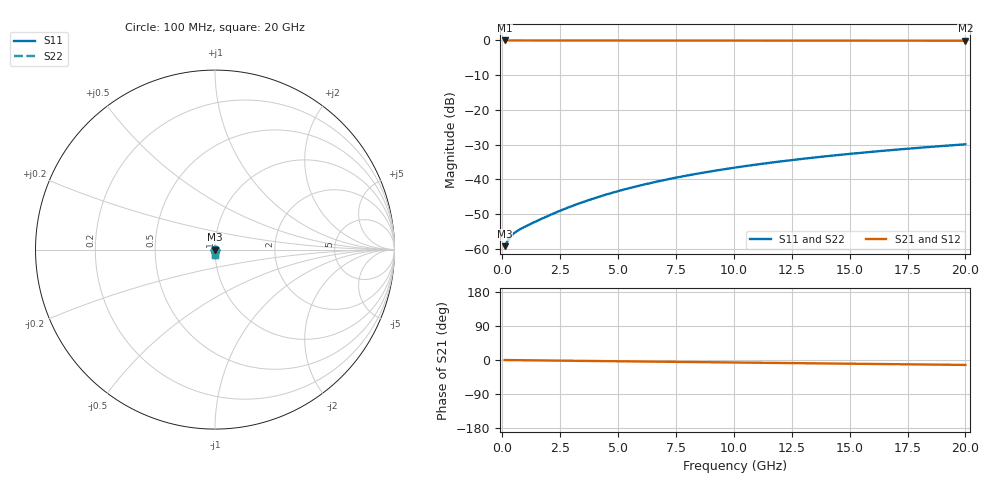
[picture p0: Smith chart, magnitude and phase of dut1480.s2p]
! Touchstone file exported from HFSS 2026.1.0
!  File:  C:/ffzhzh/LocalFiles/Ansys_Project_Files/temp_train_BSMRDL_1480_1783181306_18472.aedt
!  Generated:  12:09:34 AM Jul  5, 2026
!  Design:  BSMRDL
!  Project:  temp_train_BSMRDL_1480_1783181306_18472
! Variables:
!  h_bsmrdl = 3.7um
!  h_ox = 20um
!  h_rdl = 5um
!  h_sub = 80um
!  h_tmrdl = 5um
!  h_tsv = 80um
!  h_via = 3um
!  l_bsmrdl = 219.88um
!  l_sub = 619.88um
!  l_tmrdl = 200um
!  m_sub = 200um
!  pitch = 28.9um
!  r_tsv = 6um
!  s_tmrdl = 10um
!  w_bsmrdl = 26um
!  w_sub = 500um
!  w_tmrdl = 12um
!  x_tsv_center1 = 206um
!  x_tsv_center2 = 451.88um
!  x_tsv_center3 = 663.88um
!  x_tsv_center4 = 909.76um
!  x_tsv_center5 = 1121.76um
!  x_tsv_center6 = 1367.64um
# GHz S MA R 50.000000
! Terminal data exported
! Port[1] = BSM_RDL1_1_T1
! Port[2] = BSM_RDL1_1_T2
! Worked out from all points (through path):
!   200 points, 100 MHz to 20 GHz, reference 50 ohm
!   highest |S21| = -0.01 dB at 100 MHz (marker M1); lowest = -0.1 dB at 20 GHz (marker M2)
!   group delay of S21, straight-line fit = 1.79 ps
!   lowest |S11| = -59.2 dB at 100 MHz (marker M3), VSWR 1.00, Z = 50.1 + j0.0138 ohm
!   |S11| at or under -10 dB: start of sweep to end of sweep
!   |S22| runs from -59.2 to -29.9 dB; largest |S21 - S12| = 3.2e-15
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0.1  0.001091 7.3  0.9989 -0.1  0.9989 -0.1  0.001091 7.3
! Gamma 0 0 0 0
! Port Impedance 50 0 50 0
0.3  0.001412 7.2  0.9986 -0.2  0.9986 -0.2  0.001412 7.2
0.4  0.001553 3.3  0.9984 -0.3  0.9984 -0.3  0.001553 3.3
0.5  0.00167 -1.1  0.9983 -0.4  0.9983 -0.4  0.00167 -1.1
0.6  0.001769 -5.4  0.9982 -0.4  0.9982 -0.4  0.001769 -5.4
0.8  0.00194 -13.3  0.9981 -0.6  0.9981 -0.6  0.001941 -13.3
1.4  0.002434 -30.9  0.9979 -1.0  0.9979 -1.0  0.002434 -30.9
2.2  0.00321 -44.7  0.9977 -1.5  0.9977 -1.5  0.00321 -44.7
2.8  0.003877 -51.1  0.9975 -1.9  0.9975 -1.9  0.003878 -51.1
3.5  0.00473 -56.2  0.9972 -2.4  0.9972 -2.4  0.004731 -56.2
4.2  0.005648 -60.0  0.9969 -2.8  0.9969 -2.8  0.005649 -59.9
5  0.006763 -63.2  0.9966 -3.4  0.9966 -3.4  0.006764 -63.2
5.9  0.008086 -66.0  0.9962 -3.9  0.9962 -3.9  0.008088 -66.0
6.8  0.009468 -68.4  0.9958 -4.5  0.9958 -4.5  0.009471 -68.4
7.6  0.01073 -70.3  0.9954 -5.0  0.9954 -5.0  0.01074 -70.2
8.4  0.01203 -72.0  0.9951 -5.6  0.9951 -5.6  0.01203 -71.9
10.1  0.01485 -75.1  0.9944 -6.7  0.9944 -6.7  0.01486 -75.1
11.7  0.01756 -77.7  0.9938 -7.7  0.9938 -7.7  0.01757 -77.7
13.4  0.02048 -80.2  0.9932 -8.8  0.9932 -8.8  0.02049 -80.2
15  0.02325 -82.4  0.9927 -9.8  0.9927 -9.8  0.02326 -82.3
16.7  0.02621 -84.4  0.9922 -10.9  0.9922 -10.9  0.02622 -84.4
20  0.03196 -88.1  0.9912 -13.0  0.9912 -13.0  0.03197 -88.0
